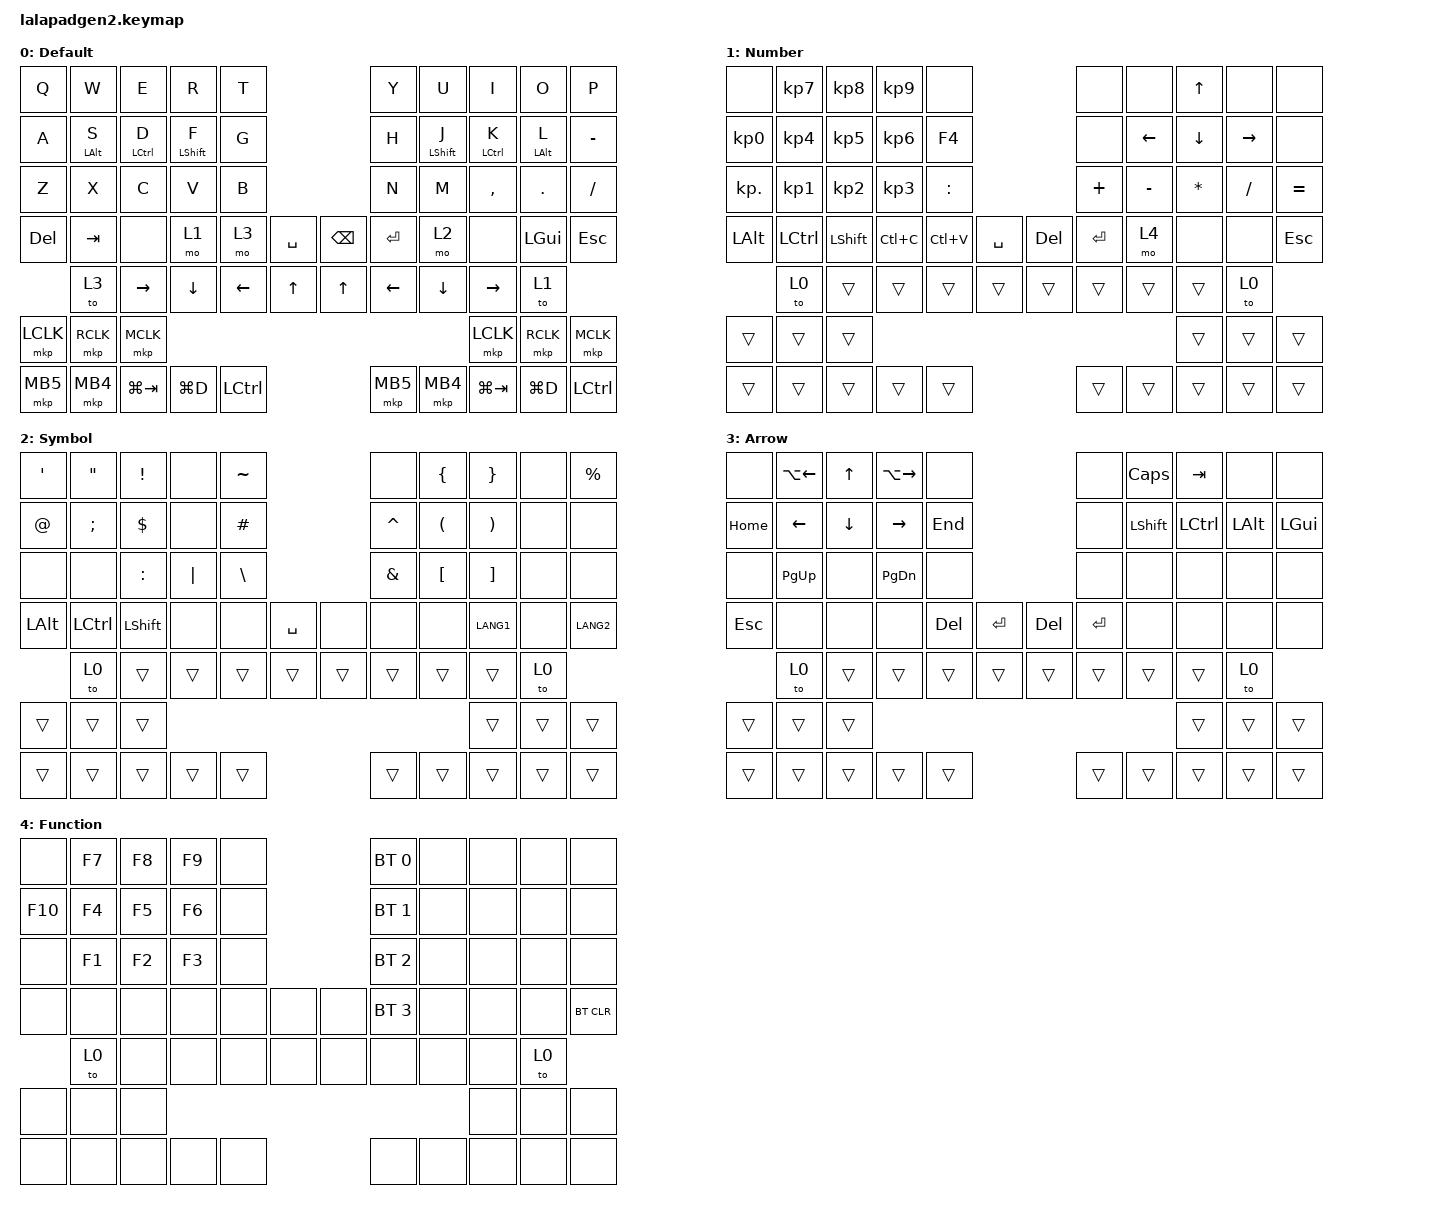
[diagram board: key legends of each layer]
#include <input/processors.dtsi>
#include <dt-bindings/zmk/zip_dynamic_scale.h>
#include <behaviors.dtsi>
#include <dt-bindings/zmk/bt.h>
#include <dt-bindings/zmk/keys.h>
#include <dt-bindings/zmk/pointing.h>

#define Default    0
#define Number    1
#define Symbol    2
#define Arrow    3
#define Numpad    4
#define System    5

&mt {
    tapping-term-ms = <275>;
    flavor = "balanced";
    require-prior-idle-ms = <150>;
    quick-tap-ms = <175>;
    hold-trigger-on-release;
};

&lt {
    tapping-term-ms = <275>;
    flavor = "balanced";
    quick-tap-ms = <175>;
    require-prior-idle-ms = <150>;
    hold-trigger-on-release;
};

/ {
    behaviors {
        zip_dyn_scale: zip_dyn_scale {
            compatible = "zmk,behavior-zip-dynamic-scale";
            #binding-cells = <2>;
        };

        zip_dyn_scale_set: zip_dyn_scale_set {
            compatible = "zmk,behavior-zip-dynamic-scale-set";
            #binding-cells = <2>;
        };

        mt2: mod_tap2 {
            compatible = "zmk,behavior-hold-tap";
            #binding-cells = <2>;
            flavor = "balanced";
            tapping-term-ms = <300>;
            quick-tap-ms = <200>;
            require-prior-idle-ms = <125>;
            bindings = <&kp>, <&kp>;
        };

        tap_dance_layer_1and2: tap_dance_layer_1and2 {
            compatible = "zmk,behavior-tap-dance";
            label = "td_mo12";
            #binding-cells = <0>;
            bindings = <&mo 1>, <&mo 3>;
        };
    };

    combos {
        compatible = "zmk,combos";

        Kana {
            bindings = <&kp LANG1>;
            key-positions = <36 15>;
        };

        Eisu {
            bindings = <&kp LANG2>;
            key-positions = <35 14>;
        };
    };

    keymap {
        compatible = "zmk,keymap";

        Default {
            display-name = "Default";
            bindings = <
&kp Q      &kp W       &kp E        &kp R         &kp T                                &kp Y      &kp U         &kp I        &kp O       &kp P
&kp A      &mt LALT S  &mt LCTRL D  &mt LSHIFT F  &kp G                                &kp H      &mt LSHIFT J  &mt LCTRL K  &mt LALT L  &kp MINUS
&kp Z      &kp X       &kp C        &kp V         &kp B                                &kp N      &kp M         &kp COMMA    &kp PERIOD  &kp SLASH
&kp DEL    &kp TAB     &none        &mo 1         &mo 3      &kp SPACE  &kp BACKSPACE  &kp ENTER  &mo 2         &none        &kp LGUI    &kp ESC
           &to 3       &kp RIGHT    &kp DOWN      &kp LEFT   &kp UP     &kp UP         &kp LEFT   &kp DOWN      &kp RIGHT    &to 1
&mkp LCLK  &mkp RCLK   &mkp MCLK                                                                                &mkp LCLK    &mkp RCLK   &mkp MCLK
&mkp MB5   &mkp MB4    &kp LG(TAB)  &kp LG(D)     &kp LCTRL                            &mkp MB5   &mkp MB4      &kp LG(TAB)  &kp LG(D)   &kp LCTRL
            >;
        };

        Number {
            display-name = "Number";
            bindings = <
&none       &kp KP_N7  &kp KP_N8  &kp KP_N9  &none                          &none      &none      &kp UP        &none      &none
&kp KP_N0   &kp KP_N4  &kp KP_N5  &kp KP_N6  &kp F4                         &none      &kp LEFT   &kp DOWN      &kp RIGHT  &none
&kp KP_DOT  &kp KP_N1  &kp KP_N2  &kp KP_N3  &kp COLON                      &kp PLUS   &kp MINUS  &kp ASTERISK  &kp SLASH  &kp EQUAL
&kp LALT    &kp LCTRL  &kp LSHFT  &kp LC(C)  &kp LC(V)  &kp SPACE  &kp DEL  &kp ENTER  &mo 4      &none         &none      &kp ESC
            &to 0      &trans     &trans     &trans     &trans     &trans   &trans     &trans     &trans        &to 0
&trans      &trans     &trans                                                                     &trans        &trans     &trans
&trans      &trans     &trans     &trans     &trans                         &trans     &trans     &trans        &trans     &trans
            >;
        };

        Symbol {
            display-name = "Symbol";
            bindings = <
&kp SQT   &kp DQT        &kp EXCL    &none     &kp TILDE                         &none          &kp LBRC  &kp RBRC   &none   &kp PERCENT
&kp AT    &kp SEMICOLON  &kp DOLLAR  &none     &kp HASH                          &kp CARET      &kp LPAR  &kp RPAR   &none   &none
&none     &none          &kp COLON   &kp PIPE  &kp BACKSLASH                     &kp AMPERSAND  &kp LBKT  &kp RBKT   &none   &none
&kp LALT  &kp LCTRL      &kp LSHFT   &none     &none          &kp SPACE  &none   &none          &none     &kp LANG1  &none   &kp LANG2
          &to 0          &trans      &trans    &trans         &trans     &trans  &trans         &trans    &trans     &to 0
&trans    &trans         &trans                                                                           &trans     &trans  &trans
&trans    &trans         &trans      &trans    &trans                            &trans         &trans    &trans     &trans  &trans
            >;
        };

        Arrow {
            display-name = "Arrow";
            bindings = <
&none     &kp LA(LEFT)  &kp UP    &kp LA(RIGHT)  &none                        &none      &kp CAPS    &kp TAB    &none         &none
&kp HOME  &kp LEFT      &kp DOWN  &kp RIGHT      &kp END                      &none      &kp LSHIFT  &kp LCTRL  &kp LEFT_ALT  &kp LEFT_GUI
&none     &kp PAGE_UP   &none     &kp PAGE_DOWN  &none                        &none      &none       &none      &none         &none
&kp ESC   &none         &none     &none          &kp DEL  &kp ENTER  &kp DEL  &kp ENTER  &none       &none      &none         &none
          &to 0         &trans    &trans         &trans   &trans     &trans   &trans     &trans      &trans     &to 0
&trans    &trans        &trans                                                                       &trans     &trans        &trans
&trans    &trans        &trans    &trans         &trans                       &trans     &trans      &trans     &trans        &trans
            >;
        };

        Function {
            bindings = <
&none    &kp F7  &kp F8  &kp F9  &none                &bt BT_SEL 0  &none  &none  &none  &none
&kp F10  &kp F4  &kp F5  &kp F6  &none                &bt BT_SEL 1  &none  &none  &none  &none
&none    &kp F1  &kp F2  &kp F3  &none                &bt BT_SEL 2  &none  &none  &none  &none
&none    &none   &none   &none   &none  &none  &none  &bt BT_SEL 3  &none  &none  &none  &bt BT_CLR
         &to 0   &none   &none   &none  &none  &none  &none         &none  &none  &to 0
&none    &none   &none                                                     &none  &none  &none
&none    &none   &none   &none   &none                &none         &none  &none  &none  &none
            >;
        };
    };

    conditional_layers { compatible = "zmk,conditional-layers"; };
};
